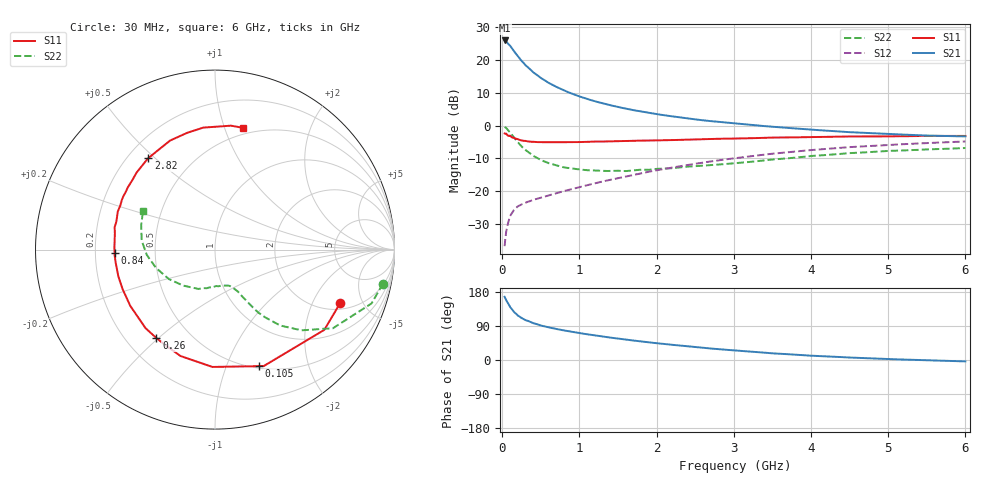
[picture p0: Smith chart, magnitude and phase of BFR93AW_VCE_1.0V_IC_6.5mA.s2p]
! Infineon Technologies  Discrete & RF Semiconductors
! BFR93AW
! VCE =  1.0 V,  IC =  6.5 mA
! Common Emitter S-Parameters:  Nov 2015
# GHz  S  MA  R  50
!  f  S11  S21  S12  S22
! GHz  MAG  ANG  MAG  ANG  MAG  ANG  MAG  ANG
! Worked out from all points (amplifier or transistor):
!   206 points, 30 MHz to 6 GHz, reference 50 ohm
!   highest |S21| = 25.9 dB at 30 MHz (marker M1)
!   |S21| within 3 dB of that: start of sweep to 143.1 MHz
!   unconditionally stable (mu >= 1): 827.6 MHz to 2.668 GHz
!   at 200 MHz: K = 0.37, MSG = 22.9 dB, |S12| = -24.6 dB
!   at 1.56 GHz: K = 1.11, MAG = 8.5 dB, |S12| = -15.7 dB
!   at 6 GHz: K = 0.98, MSG = 0.8 dB, |S12| = -4.8 dB
!   S11 on the Smith chart (normalised r, x): 30 MHz: 2.37, -3.32; 105 MHz: 0.52, -1.31; 260 MHz: 0.32, -0.49; 840 MHz: 0.28, -0.01; 2.82 GHz: 0.28, +0.47; 6 GHz: 0.44, +1.16
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0.03  0.7588 -23.0  19.77 166.7  0.0146 77.8  0.955 -11.5
0.05  0.7555 -36.3  19.16 157.7  0.0241 71.5  0.9222 -19.0
0.1  0.7034 -67.3  16.52 139.9  0.0419 59.7  0.7898 -33.7
0.105  0.6933 -69.5  16.2 138.8  0.0428 58.7  0.7759 -34.5
0.15  0.6539 -91.3  13.64 126.8  0.0517 51.6  0.6592 -43.0
0.155  0.6484 -92.9  13.41 126.0  0.0524 51.1  0.649 -43.5
0.2  0.6232 -108.0  11.43 117.6  0.0588 47.3  0.5597 -49.2
0.24  0.5977 -118.7  9.995 112.2  0.0623 45.3  0.4958 -52.1
0.26  0.5912 -123.5  9.385 109.7  0.064 44.6  0.4691 -53.5
0.3  0.5842 -131.5  8.336 105.3  0.067 44.0  0.4256 -55.5
0.4  0.5667 -146.4  6.484 97.2  0.0739 44.3  0.3468 -58.1
0.5  0.5599 -156.8  5.307 91.0  0.0799 45.3  0.2982 -60.0
0.6  0.5589 -164.5  4.474 86.1  0.0864 47.6  0.2682 -61.3
0.84  0.5597 -178.2  3.276 76.6  0.1035 51.8  0.2275 -66.1
1.04  0.5626 173.0  2.681 69.8  0.1188 54.5  0.2124 -70.9
1.48  0.5806 159.0  1.942 57.0  0.157 57.6  0.2049 -84.3
2.02  0.5971 144.0  1.483 43.9  0.2106 57.8  0.2198 -102.0
2.82  0.6299 126.2  1.132 28.3  0.2981 53.5  0.2557 -126.6
3.1  0.6375 120.2  1.055 23.9  0.3281 51.1  0.2729 -134.8
4.1  0.6708 101.7  0.852 10.5  0.4327 40.3  0.3502 -165.5
5.1  0.6869 87.5  0.737 1.8  0.5147 28.4  0.4146 170.6
6  0.696 77.0  0.684 -3.7  0.5732 18.4  0.4557 151.5
